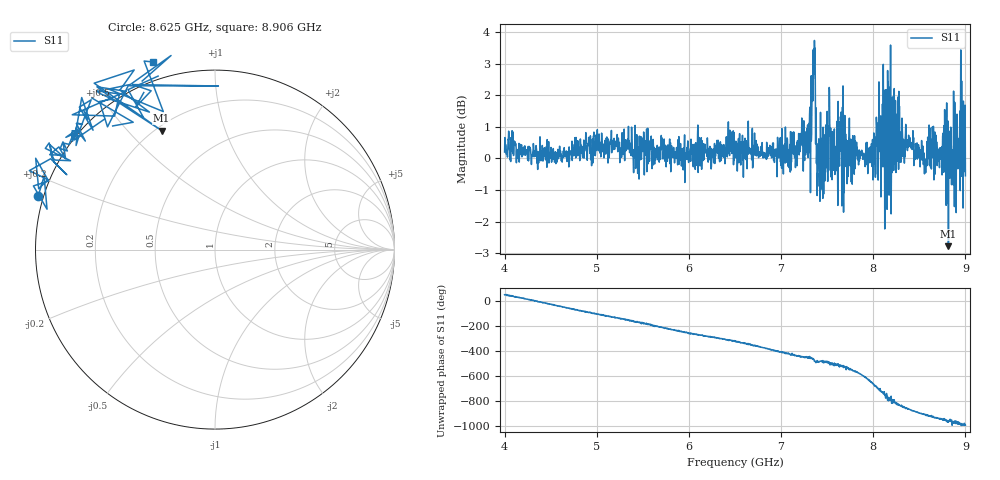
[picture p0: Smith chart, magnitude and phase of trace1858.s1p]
! Created with skrf 1.8.0 (http://scikit-rf.org).
# Hz S RI R 50.0
!freq ReS11 ImS11
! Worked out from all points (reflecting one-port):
!   1601 points, 4 GHz to 9 GHz, reference 50 ohm
!   lowest |S11| = -2.8 dB at 8.816 GHz (marker M1), VSWR 6.32, Z = 11.1 + j31.2 ohm
!   phase of S11 starts at 51 deg and turns -1041 deg over the sweep
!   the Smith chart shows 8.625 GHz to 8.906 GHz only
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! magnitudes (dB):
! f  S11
! 4 GHz  0.2
! 4.625 GHz  -0.1
! 5.25 GHz  -0.1
! 5.875 GHz  0.0
! 6.5 GHz  0.2
! 7.125 GHz  0.2
! 7.297 GHz  0.5
! 7.319 GHz  -1.1
! 7.35 GHz  2.5
! 7.362 GHz  3.7
! 7.397 GHz  -0.9
! 7.409 GHz  0.6
! 7.456 GHz  1.0
! 7.509 GHz  0.4
! 7.591 GHz  0.3
! 7.647 GHz  1.2
! 7.75 GHz  0.2
! 8 GHz  -0.1
! 8.162 GHz  2.4
! 8.209 GHz  1.9
! 8.253 GHz  1.4
! 8.375 GHz  0.6
! 8.556 GHz  -0.5
! 8.631 GHz  -0.3
! 8.816 GHz  -2.8
! 8.875 GHz  0.1
! 8.972 GHz  0.4
! 9 GHz  -0.5
